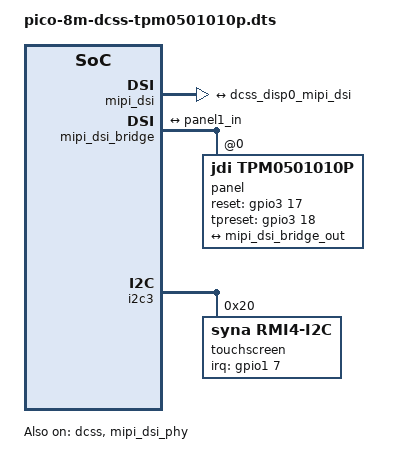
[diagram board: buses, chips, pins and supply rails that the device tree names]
/*
 * Copyright 2018 Technexion Ltd.
 * Copyright 2017 NXP
 *
 * Author: Richard Hu <richard.hu@technexion.com>
 *
 * This program is free software; you can redistribute it and/or
 * modify it under the terms of the GNU General Public License
 * as published by the Free Software Foundation; either version 2
 * of the License, or (at your option) any later version.
 *
 * This program is distributed in the hope that it will be useful,
 * but WITHOUT ANY WARRANTY; without even the implied warranty of
 * MERCHANTABILITY or FITNESS FOR A PARTICULAR PURPOSE.  See the
 * GNU General Public License for more details.
 */

#include "pico-8m.dts"

/ {
	/* PCS was fixed the brightness level, so just enable it */
	backlight_mipi {
		status = "okay";
		default-brightness-level = <6>;
	};
};

&hdmi {
	status = "disabled";
};

&dcss {
	status = "okay";
	disp-dev = "mipi_disp";

	clocks = <&clk IMX8MQ_CLK_DISP_APB_ROOT>,
		 <&clk IMX8MQ_CLK_DISP_AXI_ROOT>,
		 <&clk IMX8MQ_CLK_DISP_RTRM_ROOT>,
		 <&clk IMX8MQ_CLK_DC_PIXEL_DIV>,
		 <&clk IMX8MQ_CLK_DUMMY>,
		 <&clk IMX8MQ_CLK_DISP_DTRC_DIV>;
	clock-names = "apb", "axi", "rtrm", "pix_div", "pix_out", "dtrc";

	assigned-clocks = <&clk IMX8MQ_CLK_DC_PIXEL_SRC>,
			  <&clk IMX8MQ_CLK_DISP_AXI_SRC>,
			  <&clk IMX8MQ_CLK_DISP_RTRM_SRC>,
			  <&clk IMX8MQ_CLK_DISP_RTRM_PRE_DIV>,
			  <&clk IMX8MQ_VIDEO_PLL1_REF_SEL>,
			  <&clk IMX8MQ_VIDEO_PLL1>;
	assigned-clock-parents = <&clk IMX8MQ_VIDEO_PLL1_OUT>,
				 <&clk IMX8MQ_SYS1_PLL_800M>,
				 <&clk IMX8MQ_SYS1_PLL_800M>,
				 <&clk IMX8MQ_VIDEO_PLL1_OUT>,
				 <&clk IMX8MQ_CLK_25M>;
	assigned-clock-rates = <600000000>,
			       <800000000>,
			       <400000000>,
			       <400000000>,
			       <0>,
			       <599999999>;

	dcss_disp0: port@0 {
		reg = <0>;

		dcss_disp0_mipi_dsi: mipi_dsi {
			remote-endpoint = <&mipi_dsi_in>;
		};
	};
};

&mipi_dsi_phy {
	status = "okay";
};

&mipi_dsi {
	status = "okay";
	pwr-delay = <50>;
	best-match;
	assigned-clocks = <&clk IMX8MQ_CLK_DSI_PHY_REF_SRC>,
			  <&clk IMX8MQ_CLK_DSI_CORE_SRC>,
			  <&clk IMX8MQ_VIDEO_PLL1_REF_SEL>,
			  <&clk IMX8MQ_VIDEO_PLL1>;
	assigned-clock-parents = <&clk IMX8MQ_VIDEO_PLL1_OUT>,
				 <&clk IMX8MQ_SYS1_PLL_266M>,
				 <&clk IMX8MQ_CLK_25M>;
	assigned-clock-rates = <24000000>,
			       <266000000>,
			       <0>,
			       <599999999>;

	port@1 {
		mipi_dsi_in: endpoint {
			remote-endpoint = <&dcss_disp0_mipi_dsi>;
		};
	};

};

&mipi_dsi_bridge {
	status = "okay";

	panel@0 {
		compatible = "jdi,tpm0501010p";
		reg = <0>;
		pinctrl-0 = <&pinctrl_mipi_dsi_rst &pinctrl_ft5336_touch_rst>;
		reset-gpio = <&gpio3 17 GPIO_ACTIVE_HIGH>;
		tpreset-gpio = <&gpio3 18 GPIO_ACTIVE_HIGH>;
		dsi-lanes = <4>;
		panel-width-mm = <62>;
		panel-height-mm = <110>;

		display-timings {
			timing {
				clock-frequency = <132000000>;
				hactive = <1080>;
				vactive = <1920>;
				hfront-porch = <20>;
				hsync-len = <2>;
				hback-porch = <34>;
				vfront-porch = <10>;
				vsync-len = <5>;
				vback-porch = <4>;
				hsync-active = <0>;
				vsync-active = <0>;
				de-active = <0>;
				pixelclk-active = <0>;
			};
		};

		port {
			panel1_in: endpoint {
				remote-endpoint = <&mipi_dsi_bridge_out>;
			};
		};
	};

	port@1 {
		mipi_dsi_bridge_out: endpoint {
			remote-endpoint = <&panel1_in>;
		};
	};
};

&i2c3 {
	touchscreen@20 {
		compatible = "syna,rmi4-i2c";
		pinctrl-names = "default";
		pinctrl-0 = <&pinctrl_ft5336_touch_irq>;
		reg = <0x20>;
		interrupt-parent = <&gpio1>;
		interrupts = <7 IRQ_TYPE_LEVEL_LOW>;

		#address-cells = <1>;
		#size-cells = <0>;

		rmi4-f01@1 {
			reg = <0x1>;
			syna,nosleep-mode = <1>;
		};

		rmi4-f11@11 {
			reg = <0x11>;
			touchscreen-inverted-y;
			touchscreen-swapped-x-y;
			syna,sensor-type = <1>;
		};

		rmi4-f12@12 {
			reg = <0x12>;
			touchscreen-inverted-y;
			touchscreen-swapped-x-y;
			syna,sensor-type = <1>;
		};
	};
};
